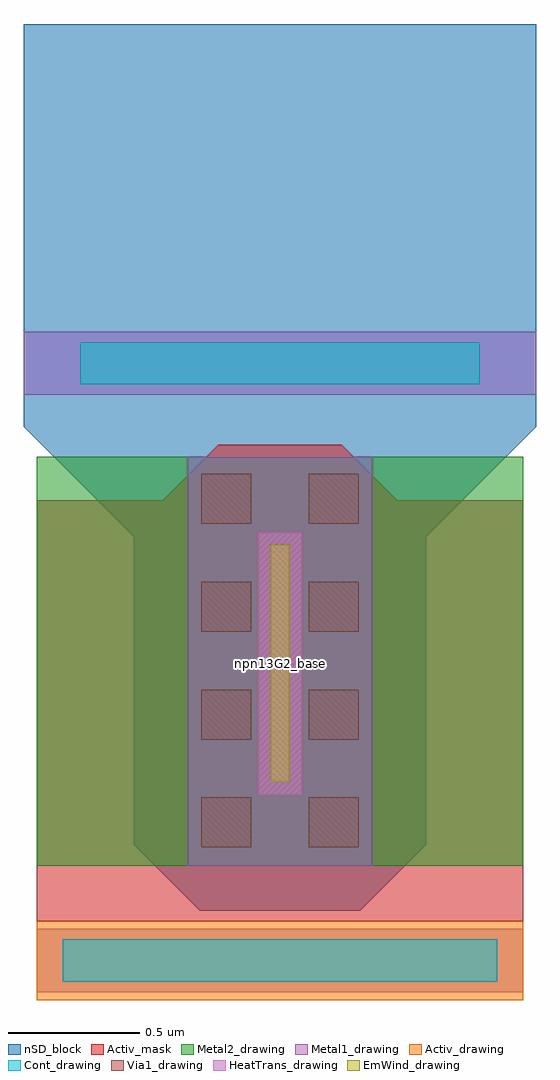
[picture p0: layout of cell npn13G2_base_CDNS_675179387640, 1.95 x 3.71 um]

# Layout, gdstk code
import gdstk
lib = gdstk.Library(unit=1e-6, precision=1e-09)
def R(c, l, rs):  # rectangles x0, y0, x1, y1
    for r in rs: c.add(gdstk.rectangle(r[:2], r[2:], *l))
def A(c, l, x, y, w, h, nx, ny, dx, dy):  # array of equal rectangles
    R(c, l, [(x+i*dx, y+j*dy, x+i*dx+w, y+j*dy+h) for i in range(nx) for j in range(ny)])
def P(c, l, *ps):  # polygons
    for p in ps: c.add(gdstk.Polygon(p, *l))
Activ_drawing = (1, 0)
Activ_mask = (1, 20)
Cont_drawing = (6, 0)
nSD_block = (7, 21)
Metal1_drawing = (8, 0)
Metal2_drawing = (10, 0)
Via1_drawing = (19, 0)
EmWind_drawing = (33, 0)
HeatTrans_drawing = (51, 0)

npn13g2_base_cdns_675179 = lib.new_cell('npn13G2_base_CDNS_675179387640')
R(npn13g2_base_cdns_675179, Activ_drawing, [(-0.925,-1.28,0.925,-0.98)])
P(npn13g2_base_cdns_675179, Activ_mask, [(-0.925,-0.98),(-0.925,0.62),(-0.445,0.62),(-0.235,0.83),(0.235,0.83),(0.445,0.62),(0.925,0.62),(0.925,-0.98)])
R(npn13g2_base_cdns_675179, Cont_drawing, [(-0.825,-1.21,0.825,-1.05), (-0.76,1.06,0.76,1.22)])
P(npn13g2_base_cdns_675179, nSD_block, [(-0.305,-0.94),(-0.555,-0.69),(-0.555,0.48),(-0.975,0.9),(-0.975,2.43),(0.975,2.43),(0.975,0.9),(0.555,0.48),(0.555,-0.69),(0.305,-0.94)])
R(npn13g2_base_cdns_675179, Metal1_drawing, [(-0.925,-1.25,0.925,-1.01), (-0.35,-0.77,0.35,0.785), (-0.975,1.02,0.975,1.26)])
R(npn13g2_base_cdns_675179, Metal2_drawing, [(-0.925,-0.77,0.925,0.785)])
A(npn13g2_base_cdns_675179, Via1_drawing, -0.3, -0.7, 0.19, 0.19, 1, 4, 0, 0.41)
A(npn13g2_base_cdns_675179, Via1_drawing, 0.11, -0.7, 0.19, 0.19, 1, 4, 0, 0.41)
R(npn13g2_base_cdns_675179, EmWind_drawing, [(-0.035,-0.45,0.035,0.45), (-0.035,-0.45,0.035,0.45)])
R(npn13g2_base_cdns_675179, HeatTrans_drawing, [(-0.085,-0.5,0.085,0.5)])
npn13g2_base_cdns_675179.add(gdstk.Label('npn13G2', (0.015,-2.31), layer=63, texttype=0))
npn13g2_base_cdns_675179.add(gdstk.Label('npn13G2_base', (0,0), layer=51, texttype=0))

lib.write_gds('npn13G2_base_CDNS_675179387640.gds')
